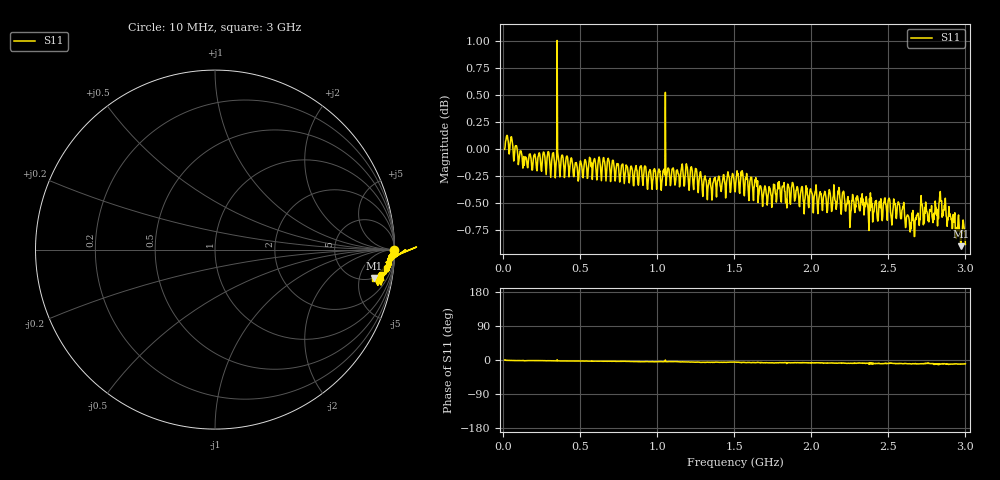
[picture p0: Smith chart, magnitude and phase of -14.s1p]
# HZ S RI R 50
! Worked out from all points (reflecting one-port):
!   1010 points, 10 MHz to 3 GHz, reference 50 ohm
!   lowest |S11| = -0.9 dB at 2.97 GHz (marker M1), VSWR 19.25, Z = 248 - j419 ohm
!   phase of S11 starts at -0 deg and turns -10 deg over the sweep
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1e7  0.9995 -0.00221
6.630327e7  0.9953 -0.0229
1.433498e8  0.9891 -0.0341
3.24113e8  0.9948 -0.0384
3.359663e8  0.9794 -0.0369
3.655996e8  0.9787 -0.0386
3.863429e8  0.9918 -0.0432
7.597225e8  0.9668 -0.0591
9.019623e8  0.968 -0.0757
1.035312e9  0.9699 -0.0758
1.061982e9  0.9685 -0.0736
1.133102e9  0.9735 -0.0726
1.293122e9  0.9513 -0.0979
1.506482e9  0.95 -0.0986
1.746511e9  0.936 -0.1203
1.879861e9  0.9564 -0.1247
2.253241e9  0.9159 -0.1374
2.315471e9  0.9266 -0.1312
2.457711e9  0.9158 -0.1562
2.522904e9  0.9112 -0.1391
2.62662e9  0.9174 -0.1614
2.69774e9  0.9126 -0.1588
2.757007e9  0.9137 -0.1505
2.810347e9  0.9252 -0.1619
2.84887e9  0.9167 -0.154
2.90221e9  0.9147 -0.1727
2.970367e9  0.8872 -0.1585
3e9  0.8888 -0.1595
